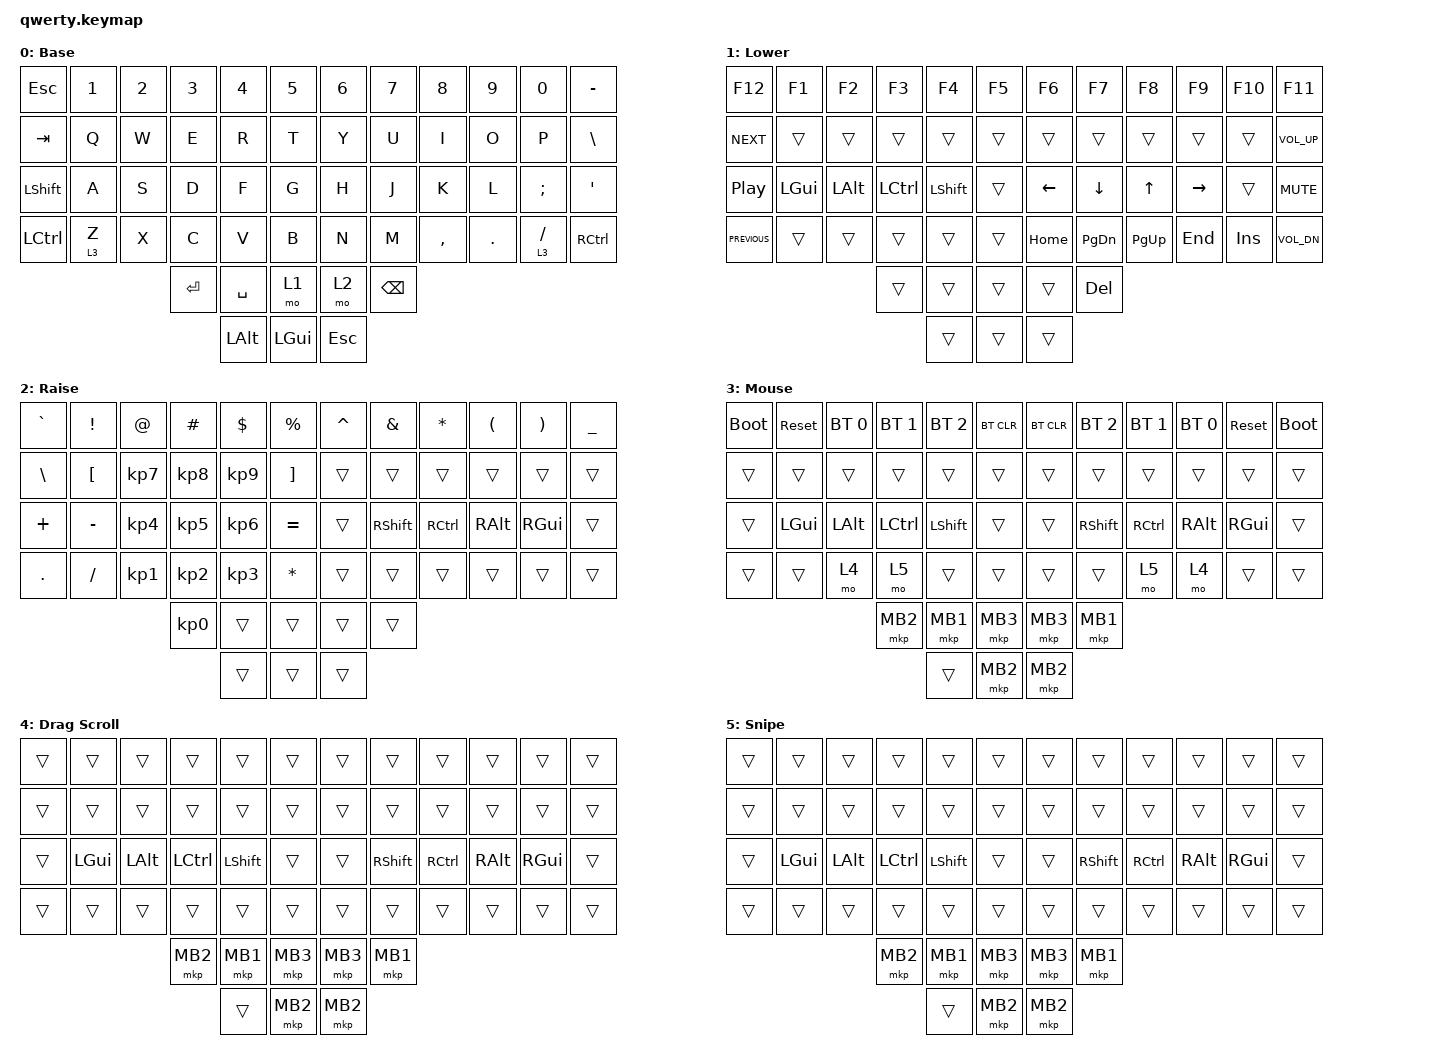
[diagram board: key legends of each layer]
/* upstream bindings and behaviors */

#include <dt-bindings/zmk/mouse.h>

/* #include <behaviors/mouse_keys.dtsi> */

#include <behaviors.dtsi>
#include <dt-bindings/zmk/bt.h>
#include <dt-bindings/zmk/keys.h>
#include <dt-bindings/zmk/pointing.h>

/* local overlays */

#include "macros.dtsi"
#include "behaviors.dtsi"
#include "combos.dtsi"

/ {
    /* --- KEYMAP CONFIG --- */
    // ╭──────┬──────┬──────┬──────┬──────┬──────╮  ╭──────┬──────┬──────┬──────┬──────┬──────╮
    //    00     01     02     03    04      05        06     07     08     09     10     11
    // ├──────┼──────┼──────┼──────┼──────┼──────┤  ├──────┼──────┼──────┼──────┼──────┼──────┤
    //    12     13     14     15     16     17        18     19     20     21     22     23
    // ├──────┼──────┼──────┼──────┼──────┼──────┤  ├──────┼──────┼──────┼──────┼──────┼──────┤
    //    24     25     26     27     28     29        30     31     32     33     34     35
    // ├──────┼──────┼──────┼──────┼──────┼──────┤  ├──────┼──────┼──────┼──────┼──────┼──────┤
    //    36     37     38     39     40     41        42     43     44     45     46     47 
    // ╰──────┴──────┴──────┼──────┼──────┼──────┤  ├──────┼──────┼──────┴──────┴──────┴──────╯
    //                         48     49     50        51     52 
    //                      ╰──────┴──────┴──────╯  ╰──────┴──────╯
    // #define BASE    0
    // #define LOWER   1
    // #define RAISE   2
    // #define MOUSE   3
    // #define SLOW    6
    // #define SCROLL  7

    keymap {
        compatible = "zmk,keymap";

        Base {
            bindings = <
&kp ESCAPE      &kp N1   &kp NUMBER_2  &kp NUMBER_3  &kp NUMBER_4  &kp NUMBER_5    &kp N6      &kp N7         &kp N8     &kp N9   &kp N0      &kp MINUS
&kp TAB         &kp Q    &kp W         &kp E         &kp R         &kp T           &kp Y       &kp U          &kp I      &kp O    &kp P       &kp BACKSLASH
&kp LEFT_SHIFT  &kp A    &kp S         &kp D         &kp F         &kp G           &kp H       &kp J          &kp K      &kp L    &kp SEMI    &kp APOS
&kp LCTRL       &lt 3 Z  &kp X         &kp C         &kp V         &kp B           &kp N       &kp M          &kp COMMA  &kp DOT  &lt 3 FSLH  &kp RCTRL
                                       &kp ENTER     &kp SPACE     &mo 1           &mo 2       &kp BACKSPACE
                                                     &kp LEFT_ALT  &kp LGUI        &kp ESCAPE
            >;
        };

        Lower {
            bindings = <
&kp F12           &kp F1    &kp F2        &kp F3     &kp F4     &kp F5    &kp F6    &kp F7         &kp F8        &kp F9     &kp F10     &kp F11
&kp C_NEXT        &trans    &trans        &trans     &trans     &trans    &trans    &trans         &trans        &trans     &trans      &kp C_VOL_UP
&kp C_PLAY_PAUSE  &kp LGUI  &kp LEFT_ALT  &kp LCTRL  &kp LSHFT  &trans    &kp LEFT  &kp DOWN       &kp UP_ARROW  &kp RIGHT  &trans      &kp C_MUTE
&kp C_PREVIOUS    &trans    &trans        &trans     &trans     &trans    &kp HOME  &kp PAGE_DOWN  &kp PG_UP     &kp END    &kp INSERT  &kp C_VOL_DN
                                          &trans     &trans     &trans    &trans    &kp DEL
                                                     &trans     &trans    &trans
            >;
        };

        Raise {
            bindings = <
&kp GRAVE      &kp EXCLAMATION   &kp AT_SIGN      &kp HASH         &kp DOLLAR       &kp PERCENT          &kp CARET  &kp AMPERSAND  &kp ASTERISK  &kp LEFT_PARENTHESIS  &kp RIGHT_PARENTHESIS  &kp UNDERSCORE
&kp BACKSLASH  &kp LEFT_BRACKET  &kp KP_NUMBER_7  &kp KP_NUMBER_8  &kp KP_NUMBER_9  &kp RIGHT_BRACKET    &trans     &trans         &trans        &trans                &trans                 &trans
&kp PLUS       &kp MINUS         &kp KP_NUMBER_4  &kp KP_NUMBER_5  &kp KP_NUMBER_6  &kp EQUAL            &trans     &kp RSHIFT     &kp RCTRL     &kp RIGHT_ALT         &kp RGUI               &trans
&kp PERIOD     &kp SLASH         &kp KP_NUMBER_1  &kp KP_NUMBER_2  &kp KP_NUMBER_3  &kp ASTERISK         &trans     &trans         &trans        &trans                &trans                 &trans
                                                  &kp KP_NUMBER_0  &trans           &trans               &trans     &trans
                                                                   &trans           &trans               &trans
            >;
        };

        Mouse {
            bindings = <
&bootloader  &sys_reset  &bt BT_SEL 0  &bt BT_SEL 1  &bt BT_SEL 2  &bt BT_CLR    &bt BT_CLR  &bt BT_SEL 2  &bt BT_SEL 1  &bt BT_SEL 0  &sys_reset  &bootloader
&trans       &trans      &trans        &trans        &trans        &trans        &trans      &trans        &trans        &trans        &trans      &trans
&trans       &kp LGUI    &kp LALT      &kp LCTRL     &kp LSHIFT    &trans        &trans      &kp RSHFT     &kp RCTRL     &kp RALT      &kp RGUI    &trans
&trans       &trans      &mo 4         &mo 5         &trans        &trans        &trans      &trans        &mo 5         &mo 4         &trans      &trans
                                       &mkp MB2      &mkp MB1      &mkp MB3      &mkp MB3    &mkp MB1
                                                     &trans        &mkp MB2      &mkp MB2
            >;
        };

        Ds {
            bindings = <
&trans  &trans    &trans    &trans     &trans      &trans      &trans    &trans      &trans     &trans         &trans    &trans
&trans  &trans    &trans    &trans     &trans      &trans      &trans    &trans      &trans     &trans         &trans    &trans
&trans  &kp LGUI  &kp LALT  &kp LCTRL  &kp LSHIFT  &trans      &trans    &kp RSHIFT  &kp RCTRL  &kp RIGHT_ALT  &kp RGUI  &trans
&trans  &trans    &trans    &trans     &trans      &trans      &trans    &trans      &trans     &trans         &trans    &trans
                            &mkp MB2   &mkp MB1    &mkp MB3    &mkp MB3  &mkp MB1
                                       &trans      &mkp MB2    &mkp MB2
            >;

            label = "Drag Scroll";
        };

        Snipe {
            bindings = <
&trans  &trans    &trans    &trans     &trans      &trans      &trans    &trans      &trans     &trans         &trans    &trans
&trans  &trans    &trans    &trans     &trans      &trans      &trans    &trans      &trans     &trans         &trans    &trans
&trans  &kp LGUI  &kp LALT  &kp LCTRL  &kp LSHIFT  &trans      &trans    &kp RSHIFT  &kp RCTRL  &kp RIGHT_ALT  &kp RGUI  &trans
&trans  &trans    &trans    &trans     &trans      &trans      &trans    &trans      &trans     &trans         &trans    &trans
                            &mkp MB2   &mkp MB1    &mkp MB3    &mkp MB3  &mkp MB1
                                       &trans      &mkp MB2    &mkp MB2
            >;
        };
    };
};
